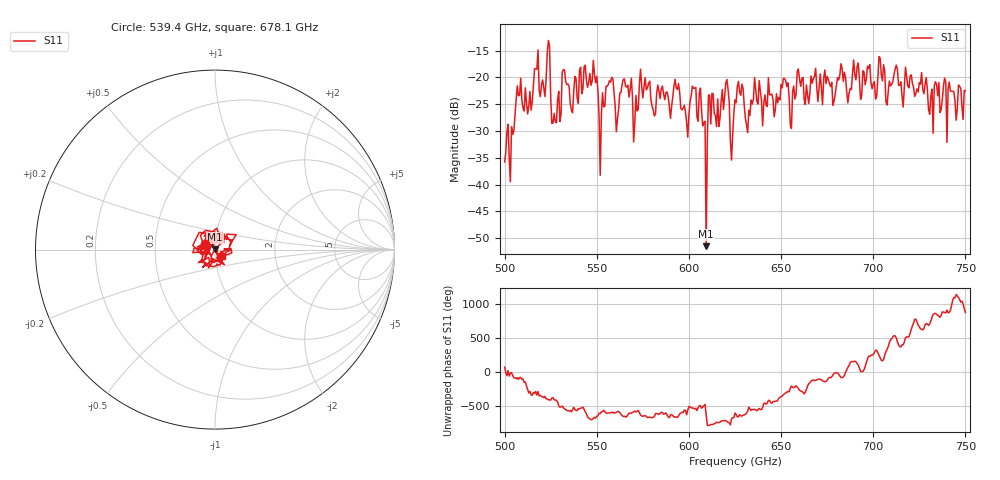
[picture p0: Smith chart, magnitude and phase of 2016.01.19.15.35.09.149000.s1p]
!Created with skrf (http://scikit-rf.org).
# GHz S RI R 50.0
!freq ReS11 ImS11
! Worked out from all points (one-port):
!   401 points, 500 GHz to 750 GHz, reference 50 ohm
!   lowest |S11| = -51.5 dB at 609.4 GHz (marker M1), VSWR 1.01, Z = 50 + j0.267 ohm
!   |S11| at or under -10 dB: start of sweep to end of sweep
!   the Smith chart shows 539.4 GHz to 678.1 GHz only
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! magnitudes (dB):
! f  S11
! 500 GHz  -35.8
! 503.8 GHz  -29.2
! 507.5 GHz  -23.4
! 513.8 GHz  -22.6
! 516.9 GHz  -18.3
! 520.6 GHz  -20.5
! 523.8 GHz  -13.1
! 526.9 GHz  -26.7
! 531.2 GHz  -19.0
! 548.8 GHz  -19.3
! 552.5 GHz  -27.0
! 557.5 GHz  -20.9
! 562.5 GHz  -22.9
! 593.8 GHz  -22.2
! 598.8 GHz  -28.4
! 602.5 GHz  -22.0
! 609.4 GHz  -51.5
! 611.9 GHz  -28.7
! 620.6 GHz  -20.4
! 623.1 GHz  -35.4
! 625 GHz  -24.2
! 652.5 GHz  -20.6
! 656.2 GHz  -22.6
! 660 GHz  -20.3
! 687.5 GHz  -22.0
! 718.8 GHz  -21.6
! 731.2 GHz  -23.5
! 750 GHz  -22.5
